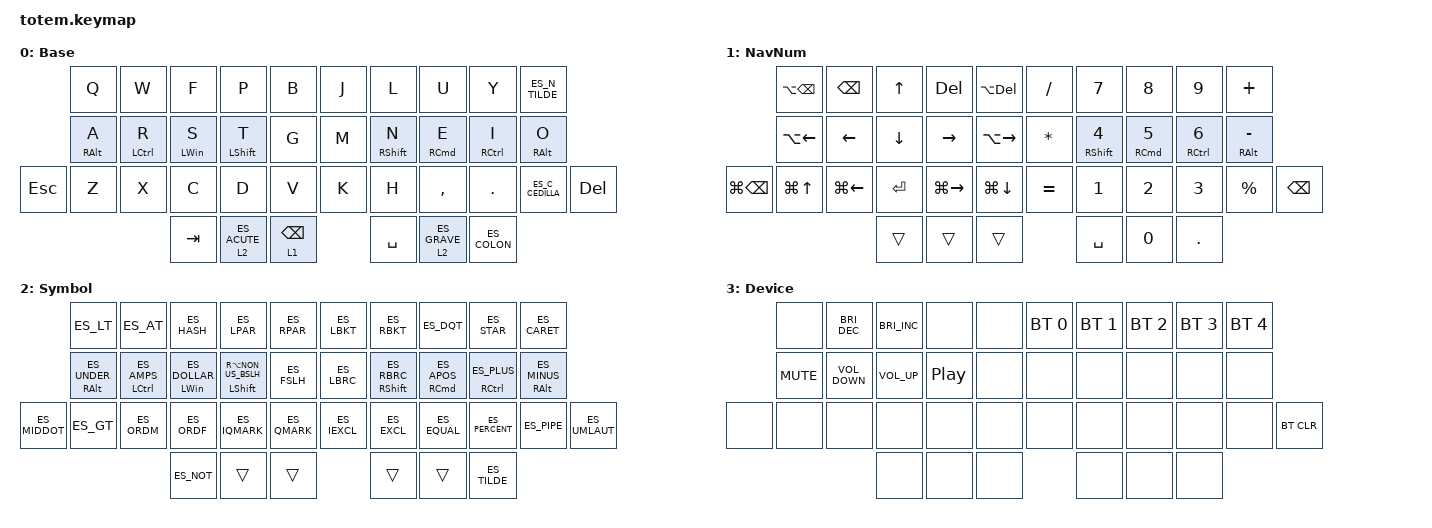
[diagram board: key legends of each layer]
//
//                                                        ▀▀▀▀▀     ▀▀▀▀▀          ▀▀█▀▀
//                                                        ▄▀▀▀▄  ▄  ▄▀▀▀▄  ▄  ▄▀▀▀▄  █  ▄▀▀▀▄
//                                                        █   █  █  █   █  █  █   █  █  █   █
//                                                         ▀▀▀   █   ▀▀▀   █   ▀▀▀   ▀   ▀▀▀
//                                                               █      ▄▄▄█▄▄▄    █   █  
//                                                               ▀      █  █  █     █▄█
//                                                             ▀▀▀▀▀    █  █  █      ▀
//                                                                      ▀  ▀  ▀
//
// ▄▄▄▄▄▄▄▄▄▄▄▄▄▄▄▄▄▄▄▄▄▄▄▄▄▄▄▄▄▄▄▄▄▄▄▄▄▄▄▄▄▄▄▄▄▄▄▄▄▄▄▄▄▄▄▄▄▄▄▄▄▄▄▄▄▄▄▄▄▄▄▄▄▄▄▄▄▄▄▄▄▄▄▄▄▄▄▄▄▄▄▄▄▄▄▄▄▄▄▄▄▄▄▄▄▄▄▄▄▄▄▄▄▄▄▄▄▄▄▄▄▄▄▄▄▄▄▄▄▄▄▄▄▄▄▄▄▄▄▄▄▄▄▄▄▄▄▄▄

#include <behaviors.dtsi>
#include <dt-bindings/zmk/bt.h>
#include <dt-bindings/zmk/keys.h>
#include <locale/keys_es.h>

&mt {
  quick-tap-ms = <100>;
  global-quick-tap;
  flavor = "tap-preferred";
  tapping-term-ms = <250>;
};

/ {
    combos {
        compatible = "zmk,combos";

        Escape {
            bindings = <&kp ESC>;
            key-positions = <1 2 3>;
        };

        TabCombo {
            bindings = <&kp TAB>;
            key-positions = <22 23 24>;
        };

        EnterCombo {
            bindings = <&kp ENTER>;
            key-positions = <27 28 29>;
        };

        BackCombo {
            bindings = <&kp BACKSPACE>;
            key-positions = <7 8>;
        };
    };

    keymap {
        compatible = "zmk,keymap";

        base {
            display-name = "Base";
            bindings = <
            &kp Q            &kp W               &kp F           &kp P             &kp B        &kp J      &kp L              &kp U                &kp Y                &kp ES_N_TILDE
            &mt RIGHT_ALT A  &mt LEFT_CONTROL R  &mt LEFT_WIN S  &mt LEFT_SHIFT T  &kp G        &kp M      &mt RIGHT_SHIFT N  &mt RIGHT_COMMAND E  &mt RIGHT_CONTROL I  &mt RIGHT_ALT O
&kp ESCAPE  &kp Z            &kp X               &kp C           &kp D             &kp V        &kp K      &kp H              &kp COMMA            &kp DOT              &kp ES_C_CEDILLA         &kp DELETE
                                                 &kp TAB         &lt 2 ES_ACUTE    &lt 1 BACKSPACE    &kp SPACE  &lt 2 ES_GRAVE     &kp ES_COLON
            >;
        };

        nav_num {
            display-name = "NavNum";
            bindings = <
                   &kp LA(BACKSPACE)   &kp BACKSPACE  &kp UP     &kp DELETE     &kp LA(DELETE)      &kp FSLH   &kp N7              &kp N8               &kp N9               &kp PLUS
                   &kp LA(LEFT_ARROW)  &kp LEFT       &kp DOWN   &kp RIGHT      &kp LA(RIGHT)       &kp STAR   &mt RIGHT_SHIFT N4  &mt RIGHT_COMMAND N5 &mt RIGHT_CONTROL N6 &mt RIGHT_ALT MINUS
&kp LG(BACKSPACE)  &kp LG(UP_ARROW)    &kp LG(LEFT)   &kp ENTER  &kp LG(RIGHT)  &kp LG(DOWN_ARROW)  &kp EQUAL  &kp N1              &kp N2               &kp N3               &kp PERCENT         &kp BACKSPACE
                                                      &trans     &trans         &trans              &kp SPACE  &kp N0              &kp PERIOD 
            >;
        };

        symbol {
            display-name = "Symbol";
            bindings = <
               &kp ES_LT   &kp ES_AT   &kp ES_HASH   &kp ES_LPAR   &kp ES_RPAR        &kp ES_LBKT   &kp ES_RBKT   &kp ES_DQT    &kp ES_STAR    &kp ES_CARET
               &mt RIGHT_ALT ES_UNDER  &mt LEFT_CONTROL ES_AMPS &mt LEFT_WIN ES_DOLLAR &mt LEFT_SHIFT  RA(NON_US_BSLH)   &kp ES_FSLH        &kp ES_LBRC   &mt RIGHT_SHIFT ES_RBRC   &mt RIGHT_COMMAND ES_APOS   &mt RIGHT_CONTROL ES_PLUS    &mt RIGHT_ALT ES_MINUS
&kp ES_MIDDOT  &kp ES_GT   &kp ES_ORDM   &kp ES_ORDF    &kp ES_IQMARK &kp ES_QMARK       &kp ES_IEXCL  &kp ES_EXCL   &kp ES_EQUAL  &kp ES_PERCENT &kp ES_PIPE  &kp ES_UMLAUT
                                         &kp ES_NOT    &trans        &trans             &trans        &trans        &kp ES_TILDE             
            >;
        };

        device {
            display-name = "Device";
            bindings = <
       &none       &kp C_BRIGHTNESS_DEC  &kp C_BRIGHTNESS_INC  &none             &none    &bt BT_SEL 0  &bt BT_SEL 1  &bt BT_SEL 2  &bt BT_SEL 3  &bt BT_SEL 4
       &kp K_MUTE  &kp C_VOLUME_DOWN     &kp C_VOLUME_UP       &kp C_PLAY_PAUSE  &none    &none         &none         &none         &none         &none
&none  &none       &none                 &none                 &none             &none    &none         &none         &none         &none         &none         &bt BT_CLR
                                         &none                 &none             &none    &none         &none         &none
            >;
        };

        extra1 { status = "reserved"; };

        extra2 { status = "reserved"; };

        extra3 { status = "reserved"; };
    };

    conditional_layers {
        compatible = "zmk,conditional-layers";

        device {
            if-layers = <1 2>;
            then-layer = <3>;
        };
    };
};
